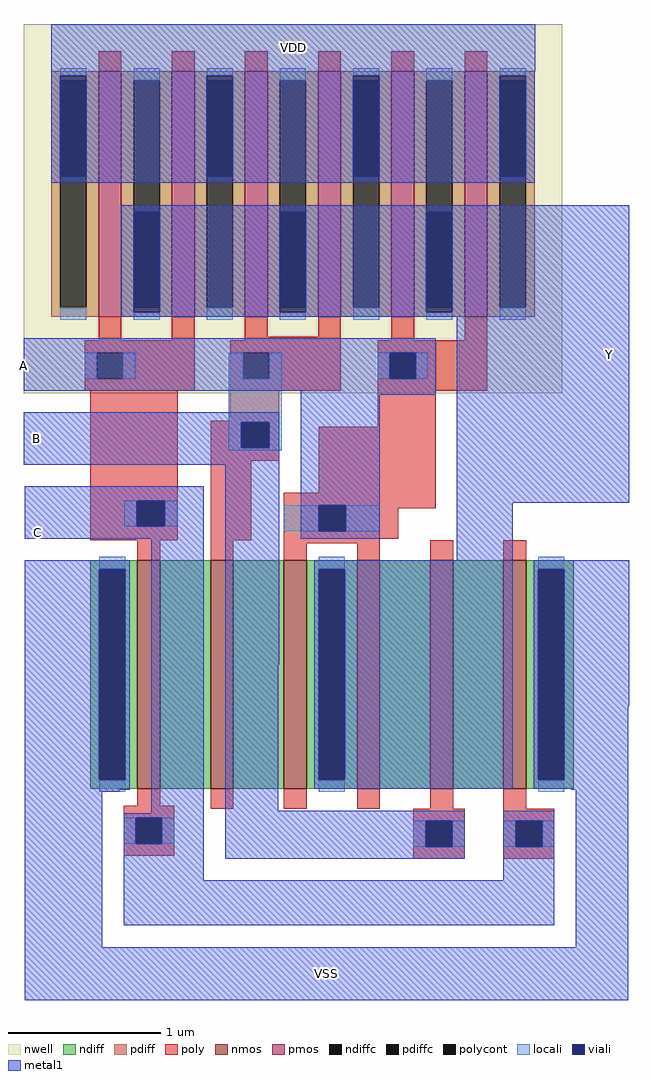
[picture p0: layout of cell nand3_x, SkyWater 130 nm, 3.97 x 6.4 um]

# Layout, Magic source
magic
tech sky130B
magscale 1 2
<< nwell >>
rect -443 743 263 1227
<< nmos >>
rect -294 224 -264 524
rect -198 224 -168 524
rect -102 224 -72 524
rect -6 224 24 524
rect 90 224 120 524
rect 186 224 216 524
<< pmos >>
rect -345 843 -315 1165
rect -249 843 -219 1165
rect -153 843 -123 1165
rect -57 843 -27 1165
rect 39 843 69 1165
rect 135 843 165 1165
<< ndiff >>
rect -356 512 -294 524
rect -356 236 -344 512
rect -310 236 -294 512
rect -356 224 -294 236
rect -264 224 -198 524
rect -168 224 -102 524
rect -72 512 -6 524
rect -72 236 -56 512
rect -22 236 -6 512
rect -72 224 -6 236
rect 24 224 90 524
rect 120 224 186 524
rect 216 512 278 524
rect 216 236 232 512
rect 266 236 278 512
rect 216 224 278 236
<< pdiff >>
rect -407 1153 -345 1165
rect -407 855 -395 1153
rect -361 855 -345 1153
rect -407 843 -345 855
rect -315 1153 -249 1165
rect -315 855 -299 1153
rect -265 855 -249 1153
rect -315 843 -249 855
rect -219 1153 -153 1165
rect -219 855 -203 1153
rect -169 855 -153 1153
rect -219 843 -153 855
rect -123 1153 -57 1165
rect -123 855 -107 1153
rect -73 855 -57 1153
rect -123 843 -57 855
rect -27 1153 39 1165
rect -27 855 -11 1153
rect 23 855 39 1153
rect -27 843 39 855
rect 69 1153 135 1165
rect 69 855 85 1153
rect 119 855 135 1153
rect 69 843 135 855
rect 165 1153 227 1165
rect 165 855 181 1153
rect 215 855 227 1153
rect 165 843 227 855
<< ndiffc >>
rect -344 236 -310 512
rect -56 236 -22 512
rect 232 236 266 512
<< pdiffc >>
rect -395 855 -361 1153
rect -299 855 -265 1153
rect -203 855 -169 1153
rect -107 855 -73 1153
rect -11 855 23 1153
rect 85 855 119 1153
rect 181 855 215 1153
<< poly >>
rect -345 1165 -315 1191
rect -249 1165 -219 1191
rect -153 1165 -123 1191
rect -57 1165 -27 1191
rect 39 1165 69 1191
rect 135 1165 165 1191
rect -345 812 -315 843
rect -249 812 -219 843
rect -153 817 -123 843
rect -57 817 -27 843
rect -153 812 -27 817
rect 39 812 69 843
rect 135 812 165 843
rect -363 796 -219 812
rect -363 762 -347 796
rect -313 762 -219 796
rect -363 746 -219 762
rect -172 796 -27 812
rect -172 762 -155 796
rect -121 762 -27 796
rect -172 746 -27 762
rect 21 796 165 812
rect 21 762 37 796
rect 71 762 165 796
rect 21 746 165 762
rect -356 602 -241 746
rect -172 713 -108 746
rect -174 707 -108 713
rect -356 568 -295 602
rect -258 568 -241 602
rect -356 550 -241 568
rect -198 705 -108 707
rect -198 671 -158 705
rect -121 671 -108 705
rect 21 699 97 746
rect -198 654 -108 671
rect -198 550 -145 654
rect -56 612 97 699
rect -102 596 97 612
rect -102 562 -56 596
rect -21 592 97 596
rect -21 562 48 592
rect -102 552 48 562
rect -294 524 -264 550
rect -198 524 -168 550
rect -102 546 24 552
rect -102 524 -72 546
rect -6 524 24 546
rect 90 524 120 550
rect 186 524 216 550
rect -294 202 -264 224
rect -312 186 -246 202
rect -198 198 -168 224
rect -102 198 -72 224
rect -6 198 24 224
rect 90 198 120 224
rect 186 198 216 224
rect -312 152 -296 186
rect -262 152 -246 186
rect -312 136 -246 152
rect 68 182 135 198
rect 68 148 84 182
rect 119 148 135 182
rect 68 132 135 148
rect 186 182 253 198
rect 186 148 202 182
rect 237 148 253 182
rect 186 132 253 148
<< polycont >>
rect -347 762 -313 796
rect -155 762 -121 796
rect 37 762 71 796
rect -295 568 -258 602
rect -158 671 -121 705
rect -56 562 -21 596
rect -296 152 -262 186
rect 84 148 119 182
rect 202 148 237 182
<< locali >>
rect -395 1159 -361 1169
rect -395 839 -361 855
rect -299 1153 -265 1169
rect -299 839 -265 849
rect -203 1159 -169 1169
rect -203 839 -169 855
rect -107 1153 -73 1169
rect -107 839 -73 849
rect -11 1159 23 1169
rect -11 839 23 855
rect 85 1153 119 1169
rect 85 839 119 849
rect 181 1159 215 1169
rect 181 839 215 855
rect -363 762 -347 796
rect -313 762 -297 796
rect -174 762 -155 796
rect -121 762 -105 796
rect 21 762 37 796
rect 71 762 87 796
rect -174 705 -105 762
rect -174 671 -158 705
rect -121 671 -105 705
rect -174 668 -105 671
rect -311 568 -295 602
rect -258 568 -242 602
rect -102 562 -56 596
rect -21 562 24 596
rect -344 512 -310 528
rect -344 220 -310 236
rect -56 512 -22 528
rect -56 220 -22 236
rect 232 512 266 528
rect 232 220 266 236
rect -312 152 -296 186
rect -262 152 -246 186
rect 68 148 84 182
rect 119 148 135 182
rect 186 148 202 182
rect 237 148 253 182
<< viali >>
rect -395 1153 -361 1159
rect -395 1027 -361 1153
rect -299 855 -265 981
rect -299 849 -265 855
rect -203 1153 -169 1159
rect -203 1027 -169 1153
rect -107 855 -73 981
rect -107 849 -73 855
rect -11 1153 23 1159
rect -11 1027 23 1153
rect 85 855 119 981
rect 85 849 119 855
rect 181 1153 215 1159
rect 181 1027 215 1153
rect 37 762 71 796
rect -158 671 -121 705
rect -295 568 -258 602
rect -56 562 -21 596
rect -344 236 -310 512
rect -56 236 -22 512
rect 232 236 266 512
rect -296 152 -262 186
rect 84 148 119 182
rect 202 148 237 182
<< metal1 >>
rect -407 1165 228 1227
rect -407 1159 227 1165
rect -407 1027 -395 1159
rect -361 1027 -203 1159
rect -169 1027 -11 1159
rect 23 1027 181 1159
rect 215 1027 227 1159
rect -407 1019 227 1027
rect -315 981 351 989
rect -315 849 -299 981
rect -265 849 -107 981
rect -73 849 85 981
rect 119 849 351 981
rect -315 843 351 849
rect -443 796 97 815
rect -443 762 37 796
rect 71 762 97 796
rect -443 746 97 762
rect -80 741 97 746
rect -443 705 -108 718
rect -443 671 -158 705
rect -121 671 -108 705
rect -443 649 -108 671
rect -442 602 -207 621
rect -442 568 -295 602
rect -258 568 -207 602
rect -442 552 -207 568
rect -442 512 -304 524
rect -442 236 -344 512
rect -310 236 -304 512
rect -442 223 -304 236
rect -442 220 -318 223
rect -442 16 -340 220
rect -276 192 -207 552
rect -312 186 -207 192
rect -312 152 -296 186
rect -262 152 -207 186
rect -312 104 -207 152
rect -179 387 -108 649
rect -80 596 24 741
rect -80 562 -56 596
rect -21 562 24 596
rect -80 552 24 562
rect 125 599 351 843
rect 125 524 198 599
rect -62 512 198 524
rect -179 195 -109 387
rect -62 236 -56 512
rect -22 236 198 512
rect -62 224 198 236
rect 226 512 351 524
rect 226 236 232 512
rect 266 332 351 512
rect 266 236 350 332
rect 226 224 350 236
rect 275 223 350 224
rect -179 182 135 195
rect -179 148 84 182
rect 119 148 135 182
rect -179 132 135 148
rect 186 182 253 195
rect 186 148 202 182
rect 237 148 253 182
rect 186 104 253 148
rect -312 45 253 104
rect 281 16 350 223
rect -442 -53 350 16
<< labels >>
rlabel metal1 -443 779 -443 779 7 A
port 1 w
rlabel metal1 -443 649 -410 718 7 B
port 2 w
rlabel metal1 -442 552 -409 568 7 C
port 3 w
rlabel metal1 -442 -53 350 16 5 VSS
port 4 s
rlabel metal1 -407 1166 228 1227 1 VDD
port 5 n
rlabel metal1 298 599 351 989 3 Y
port 6 e
<< end >>
